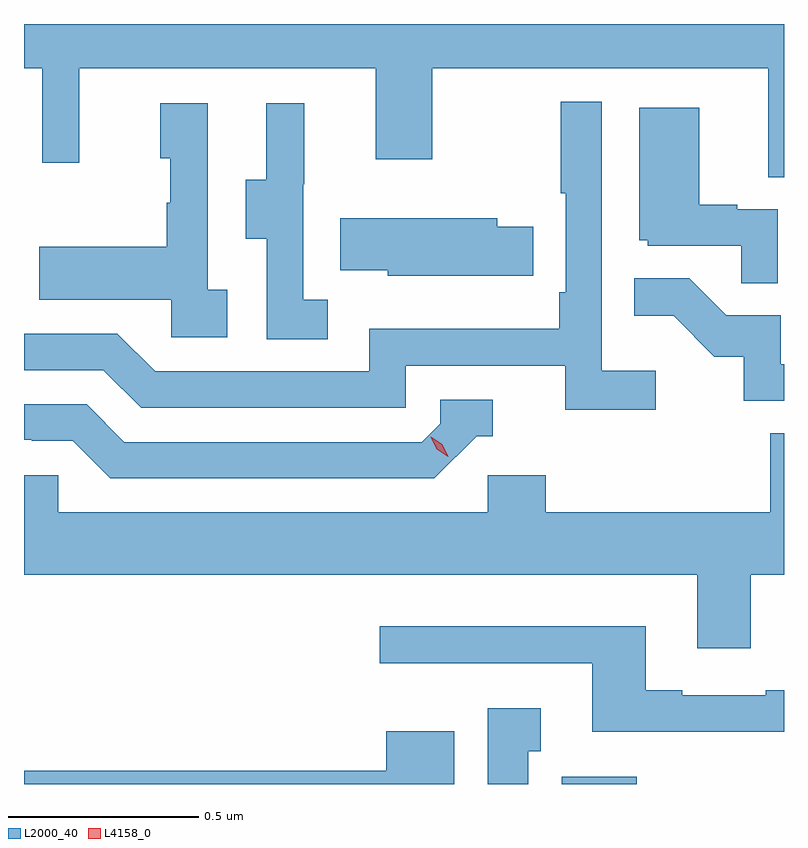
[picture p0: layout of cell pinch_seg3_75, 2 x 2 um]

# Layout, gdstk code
import gdstk
lib = gdstk.Library(unit=1e-6, precision=1e-09)
def R(c, l, rs):  # rectangles x0, y0, x1, y1
    for r in rs: c.add(gdstk.rectangle(r[:2], r[2:], *l))
def P(c, l, *ps):  # polygons
    for p in ps: c.add(gdstk.Polygon(p, *l))
L2000_40 = (2000, 40)
L4158_0 = (4158, 0)

pinch_seg3_75 = lib.new_cell('pinch_seg3_75')
R(pinch_seg3_75, L2000_40, [(1018.952,734.997,1019.149,735.016)])
P(pinch_seg3_75, L2000_40, [(1019.537,736.997),(1017.537,736.997),(1017.537,736.88),(1017.585,736.88),(1017.585,736.632),(1017.683,736.632),(1017.683,736.88),(1018.463,736.88),(1018.463,736.641),(1018.611,736.641),(1018.611,736.88),(1019.495,736.88),(1019.495,736.594),(1019.537,736.594)],
  [(1019.2,736.084),(1019.058,736.084),(1019.058,736.792),(1018.95,736.792),(1018.95,736.552),(1018.962,736.552),(1018.962,736.291),(1018.945,736.291),(1018.945,736.195),(1018.446,736.195),(1018.446,736.083),(1017.882,736.083),(1017.783,736.182),(1017.537,736.182),(1017.537,736.086),(1017.746,736.086),(1017.845,735.987),(1018.542,735.987),(1018.542,736.098),(1018.961,736.098),(1018.961,735.982),(1019.2,735.982)],
  [(1018.072,736.298),(1018.02,736.298),(1018.02,736.789),(1017.896,736.789),(1017.896,736.644),(1017.922,736.644),(1017.922,736.526),(1017.912,736.526),(1017.912,736.411),(1017.577,736.411),(1017.577,736.271),(1017.924,736.271),(1017.924,736.173),(1018.072,736.173)],
  [(1018.336,736.271),(1018.272,736.271),(1018.272,736.575),(1018.274,736.575),(1018.274,736.789),(1018.175,736.789),(1018.175,736.587),(1018.121,736.587),(1018.121,736.432),(1018.176,736.432),(1018.176,736.168),(1018.336,736.168)],
  [(1019.52,736.509),(1019.414,736.509),(1019.414,736.522),(1019.314,736.522),(1019.314,736.777),(1019.156,736.777),(1019.156,736.428),(1019.178,736.428),(1019.178,736.413),(1019.425,736.413),(1019.425,736.315),(1019.52,736.315)],
  [(1018.766,736.335),(1018.877,736.335),(1018.877,736.464),(1018.783,736.464),(1018.783,736.486),(1018.369,736.486),(1018.369,736.349),(1018.494,736.349),(1018.494,736.334),(1018.766,736.334)],
  [(1019.537,736.101),(1019.529,736.101),(1019.529,736.23),(1019.385,736.23),(1019.287,736.328),(1019.143,736.328),(1019.143,736.229),(1019.247,736.229),(1019.354,736.122),(1019.431,736.122),(1019.431,736.005),(1019.537,736.005)],
  [(1018.728,735.912),(1018.771,735.912),(1018.771,736.008),(1018.632,736.008),(1018.632,735.945),(1018.584,735.897),(1017.801,735.897),(1017.702,735.996),(1017.537,735.996),(1017.537,735.903),(1017.558,735.903),(1017.558,735.9),(1017.665,735.9),(1017.764,735.801),(1018.617,735.801)],
  [(1019.449,735.548),(1019.537,735.548),(1019.537,735.92),(1019.501,735.92),(1019.501,735.712),(1018.91,735.712),(1018.91,735.81),(1018.758,735.81),(1018.758,735.712),(1017.627,735.712),(1017.627,735.81),(1017.537,735.81),(1017.537,735.548),(1019.309,735.548),(1019.309,735.354),(1019.449,735.354)],
  [(1019.537,735.244),(1019.489,735.244),(1019.489,735.231),(1019.269,735.231),(1019.269,735.244),(1019.173,735.244),(1019.173,735.412),(1018.473,735.412),(1018.473,735.315),(1019.033,735.315),(1019.033,735.134),(1019.537,735.134)],
  [(1018.864,735.083),(1018.897,735.083),(1018.897,735.196),(1018.757,735.196),(1018.757,734.997),(1018.864,734.997)],
  [(1018.669,735.136),(1018.49,735.136),(1018.49,735.032),(1017.537,735.032),(1017.537,734.997),(1018.669,734.997)])
P(pinch_seg3_75, L4158_0, [(1018.653,735.858),(1018.623,735.878),(1018.607,735.91),(1018.607,735.911),(1018.608,735.911),(1018.638,735.891),(1018.654,735.858),(1018.654,735.858)])

lib.write_gds('pinch_seg3_75.gds')
